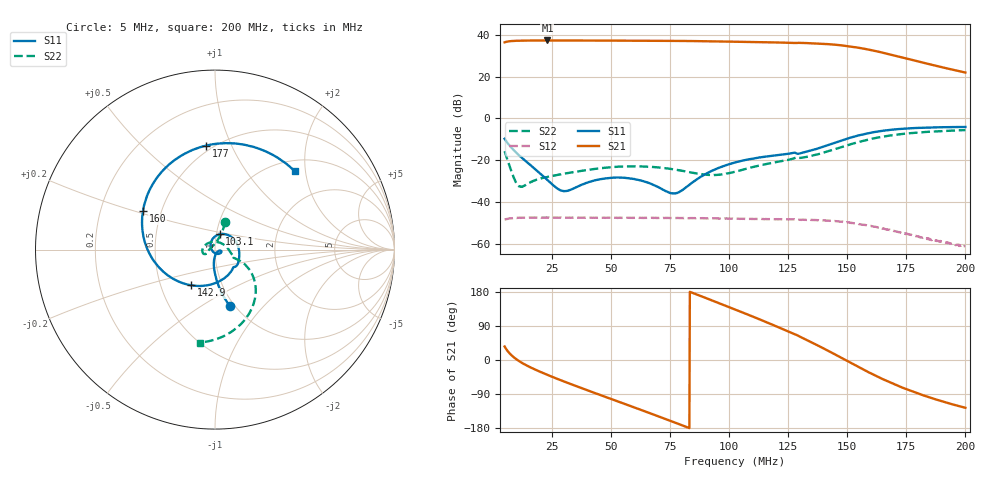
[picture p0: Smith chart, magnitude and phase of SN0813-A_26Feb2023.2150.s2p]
# Hz S DB R 50
! CMT, M5045, 22160017, 22.4.3/2
! Date: 2/26/2023 21:50:32
! Data: Format (Calibration Info)
! Freq	S11:dB/Ang(F2)	S21:dB/Ang(F2)	S12:dB/Ang(F2)	S22:dB/Ang(F2)
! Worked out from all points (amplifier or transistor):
!   1001 points, 5 MHz to 200 MHz, reference 50 ohm
!   highest |S21| = 37.4 dB at 23.14 MHz (marker M1)
!   |S21| within 3 dB of that: start of sweep to 152 MHz
!   unconditionally stable (mu >= 1): start of sweep to end of sweep
!   at 37.37 MHz: K = 1.78, MAG = 37.4 dB, |S12| = -47.6 dB
!   at 102.5 MHz: K = 1.97, MAG = 36.8 dB, |S12| = -48.2 dB
!   at 200 MHz: K = 20.65, MAG = 25.5 dB, |S12| = -61.2 dB
!   S11 on the Smith chart (normalised r, x): 5 MHz: 0.95, -0.67; 103.1 MHz: 1.04, +0.18; 142.9 MHz: 0.71, -0.30; 160 MHz: 0.39, +0.21; 177 MHz: 0.46, +0.81; 200 MHz: 1.22, +1.75
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5000000  -9.76 -75.2  36.50 35.6  -48.50 39.1  -15.69 70.1
7730000  -13.84 -84.3  37.09 13.6  -47.90 16.6  -24.92 74.0
1.1045e7  -17.63 -90.3  37.28 -2.5  -47.67 0.7  -32.56 121.0
2.3135e7  -29.55 -88.8  37.39 -39.3  -47.53 -35.7  -28.04 -167.1
3.7565e7  -31.84 -11.4  37.36 -74.2  -47.65 -68.5  -25.15 -155.2
5.3165e7  -28.36 -23.2  37.30 -109.9  -47.70 -102.7  -23.15 -163.0
7.013e7  -32.99 -77.9  37.23 -148.8  -47.72 -139.3  -23.52 170.7
7.8125e7  -35.69 -157.2  37.17 -167.6  -47.71 -157.1  -24.73 150.3
8.5925e7  -29.55 138.1  37.08 173.8  -47.86 -174.4  -26.34 121.8
9.392e7  -24.54 104.2  36.95 154.4  -47.92 166.8  -27.13 81.0
1.025e8  -21.13 74.7  36.79 133.4  -48.16 146.8  -25.56 37.1
1.03085e8  -20.96 72.7  36.77 131.9  -48.09 145.4  -25.43 35.5
1.11665e8  -18.94 42.0  36.61 110.4  -48.21 125.0  -22.89 5.5
1.1966e8  -17.76 8.8  36.43 89.6  -48.38 105.1  -20.99 -11.1
1.2941e8  -16.93 -44.7  36.25 63.4  -48.59 78.3  -18.94 -24.0
1.35065e8  -15.26 -76.8  36.04 46.0  -48.69 63.3  -17.90 -23.8
1.42865e8  -12.42 -123.9  35.55 21.2  -49.10 38.9  -15.46 -25.0
1.5047e8  -9.53 -164.8  34.64 -4.2  -49.88 14.1  -12.73 -31.3
1.60025e8  -6.84 151.9  32.78 -35.4  -51.57 -16.6  -9.85 -45.1
1.6763e8  -5.56 123.5  30.84 -57.9  -53.36 -38.5  -8.28 -57.7
1.7699e8  -4.71 94.9  28.20 -81.7  -55.76 -60.8  -7.04 -72.2
2e8  -4.11 44.6  22.00 -126.2  -61.25 -107.2  -5.60 -99.4
